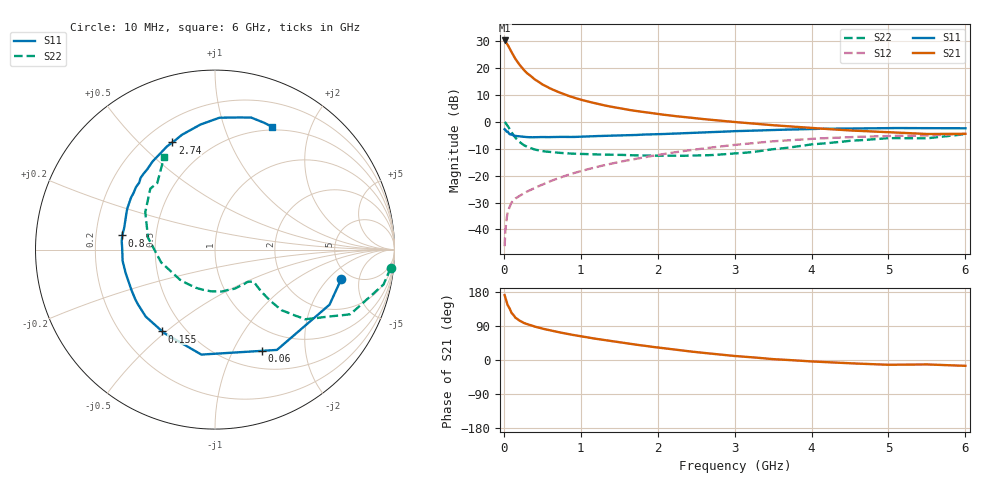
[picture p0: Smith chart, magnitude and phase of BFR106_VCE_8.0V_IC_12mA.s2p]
! Infineon Technologies  Discrete & RF Semiconductors
! BFR106
! VCE =  8.0 V,  IC =  12 mA
! Common Emitter S-Parameters:  Nov 2015
# GHz  S  MA  R  50
!  f  S11  S21  S12  S22
! GHz  MAG  ANG  MAG  ANG  MAG  ANG  MAG  ANG
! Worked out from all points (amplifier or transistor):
!   210 points, 10 MHz to 6 GHz, reference 50 ohm
!   highest |S21| = 30.1 dB at 10 MHz (marker M1)
!   |S21| within 3 dB of that: start of sweep to 75.2 MHz
!   unconditionally stable (mu >= 1): 467.7 MHz to 2.025 GHz; 5.48 GHz to 5.872 GHz
!   at 185 MHz: K = 0.61, MSG = 24.9 dB, |S12| = -27.9 dB
!   at 1.52 GHz: K = 1.06, MAG = 8.3 dB, |S12| = -14.8 dB
!   at 6 GHz: K = 1.00, MSG = 0.0 dB, |S12| = -4.6 dB
!   S11 on the Smith chart (normalised r, x): 10 MHz: 4.19, -2.85; 60 MHz: 0.71, -1.30; 155 MHz: 0.38, -0.48; 800 MHz: 0.32, +0.07; 2.74 GHz: 0.31, +0.63; 6 GHz: 0.46, +1.47
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0.01  0.7227 -13.0  32.09 171.2  0.0049 86.7  0.9842 -5.9
0.02  0.7081 -25.7  31.14 164.2  0.0095 77.5  0.9589 -11.7
0.05  0.6569 -58.3  26.66 144.5  0.021 64.2  0.8358 -25.5
0.06  0.6215 -65.2  25.03 141.4  0.023 61.4  0.793 -27.5
0.1  0.5898 -97.4  19.53 124.2  0.0316 54.1  0.6338 -37.8
0.15  0.5446 -121.4  14.57 111.6  0.0375 49.9  0.5017 -42.3
0.155  0.5423 -122.8  14.26 111.0  0.0379 49.9  0.494 -42.3
0.2  0.5369 -136.0  11.56 104.3  0.0416 49.8  0.4251 -42.8
0.26  0.5237 -147.9  9.129 97.8  0.0468 51.1  0.3671 -42.4
0.3  0.5174 -153.8  7.971 94.6  0.0503 52.9  0.3437 -42.1
0.4  0.5146 -165.1  6.105 88.2  0.0586 55.9  0.3039 -40.7
0.5  0.5186 -173.0  4.919 82.7  0.068 58.7  0.2837 -40.0
0.6  0.5164 -179.6  4.144 78.0  0.0782 60.8  0.2739 -40.8
0.8  0.5227 171.3  3.149 69.9  0.099 63.2  0.259 -43.7
1.02  0.5268 161.3  2.514 62.0  0.1228 64.1  0.252 -48.8
1.4  0.5505 148.1  1.883 49.9  0.1664 63.5  0.2447 -60.5
2.02  0.5856 130.1  1.377 32.5  0.2436 58.6  0.2338 -86.4
2.74  0.6426 111.7  1.069 15.9  0.3366 49.6  0.2418 -125.2
3.1  0.6718 104.0  0.959 9.1  0.3824 44.2  0.2624 -145.7
4.1  0.7363 86.6  0.746 -4.7  0.4887 27.6  0.3877 165.9
5.1  0.7611 73.5  0.629 -12.4  0.5458 12.3  0.494 135.5
6  0.7542 64.9  0.595 -15.4  0.592 1.0  0.5873 118.9
